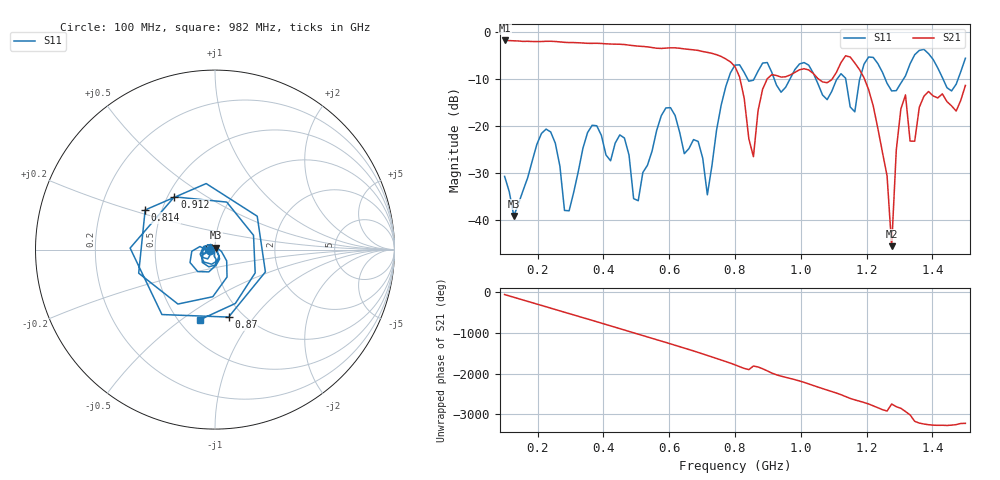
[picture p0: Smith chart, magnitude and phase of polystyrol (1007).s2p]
! NanoVNA-App
! Date: 2025-09-25 15:37:43
! Start: 100MHz Stop: 1,5GHz Points: 101
! S-Parameter data: F S11 S21 S12 S22
# Hz S RI R 50
!  Frequency  S11_Real  S11_Imag  S21_Real  S21_Imag  S12_Real  S12_Imag  S22_Real  S22_Imag
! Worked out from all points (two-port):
!   101 points, 100 MHz to 1.5 GHz, reference 50 ohm
!   highest |S21| = -1.80 dB at 100 MHz (marker M1); lowest = -45.6 dB at 1.276 GHz (marker M2)
!   |S21| within 3 dB of the highest: start of sweep to 742.6 MHz
!   lowest |S11| = -39.1 dB at 128 MHz (marker M3), VSWR 1.02, Z = 50.3 + j1.05 ohm
!   |S11| at or under -10 dB: start of sweep to 779.8 MHz; 1.046 GHz to 1.11 GHz (64.51 MHz wide, 5.98 % of centre); 1.257 GHz to 1.312 GHz (55.31 MHz wide, 4.31 % of centre) (the widest 3 of 7)
!   S12 and S22 are empty: the file has one direction only
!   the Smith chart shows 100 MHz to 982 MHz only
!   S11 on the Smith chart (normalised r, x): 100 MHz: 0.94, -0.01; 814 MHz: 0.40, +0.22; 870 MHz: 0.86, -0.76; 912 MHz: 0.54, +0.37; 982 MHz: 0.63, -0.59
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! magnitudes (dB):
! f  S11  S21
! 100 MHz  -30.7  -1.8
! 128 MHz  -39.1  -1.9
! 212 MHz  -21.6  -2.0
! 282 MHz  -38.0  -2.2
! 338 MHz  -24.7  -2.3
! 464 MHz  -22.6  -2.7
! 506 MHz  -35.9  -3.0
! 576 MHz  -17.8  -3.5
! 716 MHz  -34.6  -4.3
! 800 MHz  -7.0  -7.4
! 814 MHz  -7.0  -9.6
! 856 MHz  -10.3  -26.5
! 870 MHz  -8.3  -16.7
! 912 MHz  -8.6  -9.1
! 982 MHz  -8.0  -8.6
! 1.038 GHz  -8.8  -8.8
! 1.164 GHz  -17.0  -6.6
! 1.192 GHz  -6.8  -9.7
! 1.276 GHz  -12.5  -45.6
! 1.318 GHz  -9.3  -13.4
! 1.346 GHz  -4.8  -23.2
! 1.5 GHz  -5.6  -11.4
